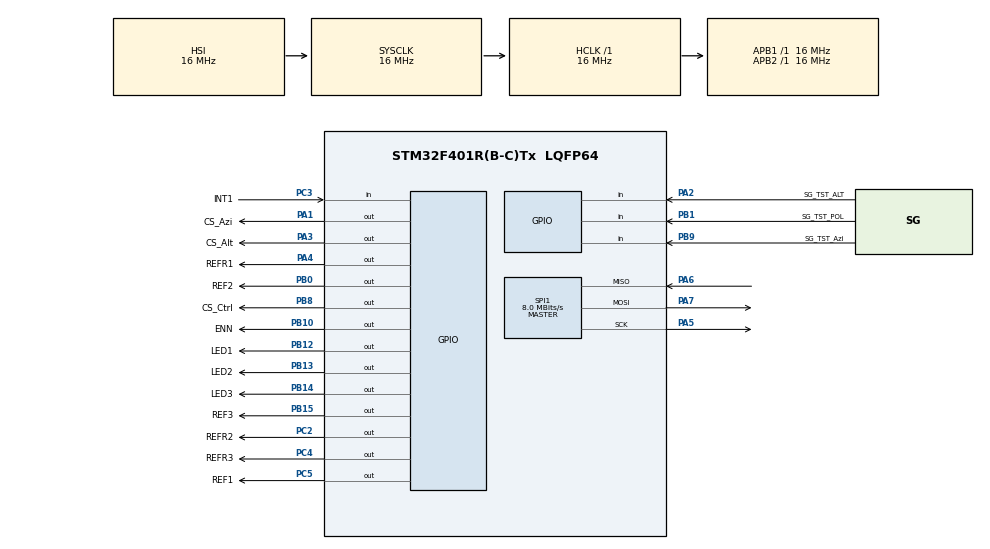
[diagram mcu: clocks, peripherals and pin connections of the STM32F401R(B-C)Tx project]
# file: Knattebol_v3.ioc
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Mcu.Family=STM32F4
Mcu.Name=STM32F401R(B-C)Tx
Mcu.Package=LQFP64
NVIC.PriorityGroup=NVIC_PRIORITYGROUP_4
PA1.GPIO_Label=CS_Azi
PA1.GPIO_Speed=GPIO_SPEED_FREQ_VERY_HIGH
PA1.PinState=GPIO_PIN_SET
PA1.Signal=GPIO_Output
PA13.Mode=Serial_Wire
PA13.Signal=SYS_JTMS-SWDIO
PA14.Mode=Serial_Wire
PA14.Signal=SYS_JTCK-SWCLK
PA2.GPIO_Label=SG_TST_ALT
PA2.Signal=GPIO_Input
PA3.GPIO_Label=CS_Alt
PA3.GPIO_Speed=GPIO_SPEED_FREQ_VERY_HIGH
PA3.PinState=GPIO_PIN_SET
PA3.Signal=GPIO_Output
PA4.GPIO_Label=REFR1
PA4.PinState=GPIO_PIN_RESET
PA4.Signal=GPIO_Output
PA5.Mode=Full_Duplex_Master
PA5.Signal=SPI1_SCK
PA6.Mode=Full_Duplex_Master
PA6.Signal=SPI1_MISO
PA7.Mode=Full_Duplex_Master
PA7.Signal=SPI1_MOSI
PB0.GPIO_Label=REF2
PB0.Signal=GPIO_Output
PB1.GPIO_Label=SG_TST_POL
PB1.Signal=GPIO_Input
PB10.GPIO_Label=ENN
PB10.GPIO_PuPd=GPIO_NOPULL
PB10.Signal=GPIO_Output
PB12.GPIO_Label=LED1
PB12.Signal=GPIO_Output
PB13.GPIO_Label=LED2
PB13.Signal=GPIO_Output
PB14.GPIO_Label=LED3
PB14.Signal=GPIO_Output
PB15.GPIO_Label=REF3
PB15.Signal=GPIO_Output
PB8.GPIO_Label=CS_Ctrl
PB8.GPIO_PuPd=GPIO_NOPULL
PB8.GPIO_Speed=GPIO_SPEED_FREQ_VERY_HIGH
PB8.PinState=GPIO_PIN_SET
PB8.Signal=GPIO_Output
PB9.GPIO_Label=SG_TST_Azi
PB9.Signal=GPIO_Input
PC2.GPIO_Label=REFR2
PC2.Signal=GPIO_Output
PC3.GPIO_Label=INT1
PC3.Signal=GPIO_Input
PC4.GPIO_Label=REFR3
PC4.GPIO_PuPd=GPIO_NOPULL
PC4.Signal=GPIO_Output
PC5.GPIO_Label=REF1
PC5.GPIO_PuPd=GPIO_NOPULL
PC5.Signal=GPIO_Output
ProjectManager.HeapSize=0x200
ProjectManager.StackSize=0x400
ProjectManager.TargetToolchain=STM32CubeIDE
RCC.48MHZClocksFreq_Value=10000000
RCC.AHBFreq_Value=16000000
RCC.APB1Freq_Value=16000000
RCC.APB1TimFreq_Value=16000000
RCC.APB2Freq_Value=16000000
RCC.APB2TimFreq_Value=16000000
RCC.CortexFreq_Value=16000000
RCC.HCLKFreq_Value=16000000
RCC.HSE_VALUE=25000000
RCC.HSI_VALUE=16000000
RCC.LSE_VALUE=32768
RCC.PLLM=36
RCC.PLLN=90
RCC.SYSCLKFreq_VALUE=16000000
RCC.VCOOutputFreq_Value=40000000
SPI1.CalculateBaudRate=8.0 MBits/s
SPI1.Direction=SPI_DIRECTION_2LINES
SPI1.Mode=SPI_MODE_MASTER
SPI1.VirtualType=VM_MASTER
board=custom

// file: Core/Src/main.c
/* USER CODE BEGIN Header */
/**
  ******************************************************************************
  * @file           : main.c
  * @brief          : Main program body
  ******************************************************************************
  * @attention
  *
  * Copyright (c) 2022 STMicroelectronics.
  * All rights reserved.
  *
  * This software is licensed under terms that can be found in the LICENSE file
  * in the root directory of this software component.
  * If no LICENSE file comes with this software, it is provided AS-IS.
  *
  ******************************************************************************
  */
/* USER CODE END Header */
#include "main.h"

/* USER CODE BEGIN Includes */
#include "TMC429.h"
#include "TMC2660.h"
/* USER CODE END Includes */

SPI_HandleTypeDef hspi1;

void SystemClock_Config(void);
static void MX_GPIO_Init(void);
static void MX_SPI1_Init(void);

int main(void)
{

  /* MCU Configuration--------------------------------------------------------*/

  /* Reset of all peripherals, Initializes the Flash interface and the Systick. */
  HAL_Init();

  /* Configure the system clock */
  SystemClock_Config();

  /* Initialize all configured peripherals */
  MX_GPIO_Init();
  MX_SPI1_Init();
  /* USER CODE BEGIN 2 */
  state = CONFIGURE;

  /* USER CODE END 2 */

  /* Infinite loop */
  /* USER CODE BEGIN WHILE */
  uint32_t counter = 0;

  while (1)
  {
	  switch(state){
	  case CONFIGURE:
		  TMC429_Init(&hspi1);
		  TMC2660_Init(&hspi1);

		  break;
	  case FOLLOW:
		  SET_LED(LED2_Pin);
		  if(TMC429_CheckFollow()){
			  state = LOCKED;
			  RESET_LED(LED2_Pin);
		  }

		  break;
	  case LOCKED:
		  SET_LED(LED3_Pin);
		  HAL_Delay(50000);
		  if(1){
			  controller.motors[0].x_target = counter + 512;

			  state = FOLLOW;
			  RESET_LED(LED3_Pin);
		  }

		  break;

	  case UPDATE_POS:
		  TMC429_Set_X_Target(&hspi1, 0);
		  //TMC429_Set_X_Target(&hspi1, 1);

		  state = FOLLOW;

		  break;

	  default:
		  break;
	  }
  }
  /* USER CODE END WHILE */
}

void SystemClock_Config(void)
{
  RCC_OscInitTypeDef RCC_OscInitStruct = {0};
  RCC_ClkInitTypeDef RCC_ClkInitStruct = {0};

  /** Configure the main internal regulator output voltage
  */
  __HAL_RCC_PWR_CLK_ENABLE();
  __HAL_PWR_VOLTAGESCALING_CONFIG(PWR_REGULATOR_VOLTAGE_SCALE2);
  /** Initializes the RCC Oscillators according to the specified parameters
  * in the RCC_OscInitTypeDef structure.
  */
  RCC_OscInitStruct.OscillatorType = RCC_OSCILLATORTYPE_HSI;
  RCC_OscInitStruct.HSIState = RCC_HSI_ON;
  RCC_OscInitStruct.HSICalibrationValue = RCC_HSICALIBRATION_DEFAULT;
  RCC_OscInitStruct.PLL.PLLState = RCC_PLL_NONE;
  if (HAL_RCC_OscConfig(&RCC_OscInitStruct) != HAL_OK)
  {
    Error_Handler();
  }
  /** Initializes the CPU, AHB and APB buses clocks
  */
  RCC_ClkInitStruct.ClockType = RCC_CLOCKTYPE_HCLK|RCC_CLOCKTYPE_SYSCLK
                              |RCC_CLOCKTYPE_PCLK1|RCC_CLOCKTYPE_PCLK2;
  RCC_ClkInitStruct.SYSCLKSource = RCC_SYSCLKSOURCE_HSI;
  RCC_ClkInitStruct.AHBCLKDivider = RCC_SYSCLK_DIV1;
  RCC_ClkInitStruct.APB1CLKDivider = RCC_HCLK_DIV1;
  RCC_ClkInitStruct.APB2CLKDivider = RCC_HCLK_DIV1;

  if (HAL_RCC_ClockConfig(&RCC_ClkInitStruct, FLASH_LATENCY_0) != HAL_OK)
  {
    Error_Handler();
  }
}

static void MX_SPI1_Init(void)
{

  /* SPI1 parameter configuration*/
  hspi1.Instance = SPI1;
  hspi1.Init.Mode = SPI_MODE_MASTER;
  hspi1.Init.Direction = SPI_DIRECTION_2LINES;
  hspi1.Init.DataSize = SPI_DATASIZE_8BIT;
  hspi1.Init.CLKPolarity = SPI_POLARITY_LOW;
  hspi1.Init.CLKPhase = SPI_PHASE_1EDGE;
  hspi1.Init.NSS = SPI_NSS_SOFT;
  hspi1.Init.BaudRatePrescaler = SPI_BAUDRATEPRESCALER_2;
  hspi1.Init.FirstBit = SPI_FIRSTBIT_MSB;
  hspi1.Init.TIMode = SPI_TIMODE_DISABLE;
  hspi1.Init.CRCCalculation = SPI_CRCCALCULATION_DISABLE;
  hspi1.Init.CRCPolynomial = 10;
  if (HAL_SPI_Init(&hspi1) != HAL_OK)
  {
    Error_Handler();
  }

}

static void MX_GPIO_Init(void)
{
  GPIO_InitTypeDef GPIO_InitStruct = {0};

  /* GPIO Ports Clock Enable */
  __HAL_RCC_GPIOC_CLK_ENABLE();
  __HAL_RCC_GPIOA_CLK_ENABLE();
  __HAL_RCC_GPIOB_CLK_ENABLE();

  /*Configure GPIO pin Output Level */
  HAL_GPIO_WritePin(GPIOC, REFR2_Pin|REFR3_Pin|REF1_Pin, GPIO_PIN_RESET);

  /*Configure GPIO pin Output Level */
  HAL_GPIO_WritePin(GPIOA, CS_Azi_Pin|CS_Alt_Pin, GPIO_PIN_SET);

  /*Configure GPIO pin Output Level */
  HAL_GPIO_WritePin(REFR1_GPIO_Port, REFR1_Pin, GPIO_PIN_RESET);

  /*Configure GPIO pin Output Level */
  HAL_GPIO_WritePin(GPIOB, REF2_Pin|ENN_Pin|LED1_Pin|LED2_Pin
                          |LED3_Pin|REF3_Pin, GPIO_PIN_RESET);

  /*Configure GPIO pin Output Level */
  HAL_GPIO_WritePin(CS_Ctrl_GPIO_Port, CS_Ctrl_Pin, GPIO_PIN_SET);

  /*Configure GPIO pins : REFR2_Pin REFR3_Pin REF1_Pin */
  GPIO_InitStruct.Pin = REFR2_Pin|REFR3_Pin|REF1_Pin;
  GPIO_InitStruct.Mode = GPIO_MODE_OUTPUT_PP;
  GPIO_InitStruct.Pull = GPIO_NOPULL;
  GPIO_InitStruct.Speed = GPIO_SPEED_FREQ_LOW;
  HAL_GPIO_Init(GPIOC, &GPIO_InitStruct);

  /*Configure GPIO pin : INT1_Pin */
  GPIO_InitStruct.Pin = INT1_Pin;
  GPIO_InitStruct.Mode = GPIO_MODE_INPUT;
  GPIO_InitStruct.Pull = GPIO_NOPULL;
  HAL_GPIO_Init(INT1_GPIO_Port, &GPIO_InitStruct);

  /*Configure GPIO pins : CS_Azi_Pin CS_Alt_Pin */
  GPIO_InitStruct.Pin = CS_Azi_Pin|CS_Alt_Pin;
  GPIO_InitStruct.Mode = GPIO_MODE_OUTPUT_PP;
  GPIO_InitStruct.Pull = GPIO_NOPULL;
  GPIO_InitStruct.Speed = GPIO_SPEED_FREQ_VERY_HIGH;
  HAL_GPIO_Init(GPIOA, &GPIO_InitStruct);

  /*Configure GPIO pin : SG_TST_ALT_Pin */
  GPIO_InitStruct.Pin = SG_TST_ALT_Pin;
  GPIO_InitStruct.Mode = GPIO_MODE_INPUT;
  GPIO_InitStruct.Pull = GPIO_NOPULL;
  HAL_GPIO_Init(SG_TST_ALT_GPIO_Port, &GPIO_InitStruct);

  /*Configure GPIO pin : REFR1_Pin */
  GPIO_InitStruct.Pin = REFR1_Pin;
  GPIO_InitStruct.Mode = GPIO_MODE_OUTPUT_PP;
  GPIO_InitStruct.Pull = GPIO_NOPULL;
  GPIO_InitStruct.Speed = GPIO_SPEED_FREQ_LOW;
  HAL_GPIO_Init(REFR1_GPIO_Port, &GPIO_InitStruct);

  /*Configure GPIO pins : REF2_Pin ENN_Pin LED1_Pin LED2_Pin
                           LED3_Pin REF3_Pin */
  GPIO_InitStruct.Pin = REF2_Pin|ENN_Pin|LED1_Pin|LED2_Pin
                          |LED3_Pin|REF3_Pin;
  GPIO_InitStruct.Mode = GPIO_MODE_OUTPUT_PP;
  GPIO_InitStruct.Pull = GPIO_NOPULL;
  GPIO_InitStruct.Speed = GPIO_SPEED_FREQ_LOW;
  HAL_GPIO_Init(GPIOB, &GPIO_InitStruct);

  /*Configure GPIO pins : SG_TST_POL_Pin SG_TST_Azi_Pin */
  GPIO_InitStruct.Pin = SG_TST_POL_Pin|SG_TST_Azi_Pin;
  GPIO_InitStruct.Mode = GPIO_MODE_INPUT;
  GPIO_InitStruct.Pull = GPIO_NOPULL;
  HAL_GPIO_Init(GPIOB, &GPIO_InitStruct);

  /*Configure GPIO pin : CS_Ctrl_Pin */
  GPIO_InitStruct.Pin = CS_Ctrl_Pin;
  GPIO_InitStruct.Mode = GPIO_MODE_OUTPUT_PP;
  GPIO_InitStruct.Pull = GPIO_NOPULL;
  GPIO_InitStruct.Speed = GPIO_SPEED_FREQ_VERY_HIGH;
  HAL_GPIO_Init(CS_Ctrl_GPIO_Port, &GPIO_InitStruct);

}

/* USER CODE BEGIN 4 */

void SET_LED(uint16_t led){
	HAL_GPIO_WritePin(GPIOB, led, GPIO_PIN_SET);
}
void RESET_LED(uint16_t led){
	HAL_GPIO_WritePin(GPIOB, led, GPIO_PIN_RESET);
}
/* USER CODE END 4 */

void Error_Handler(void)
{
  __disable_irq();
  while (1)
  {
  }
}
